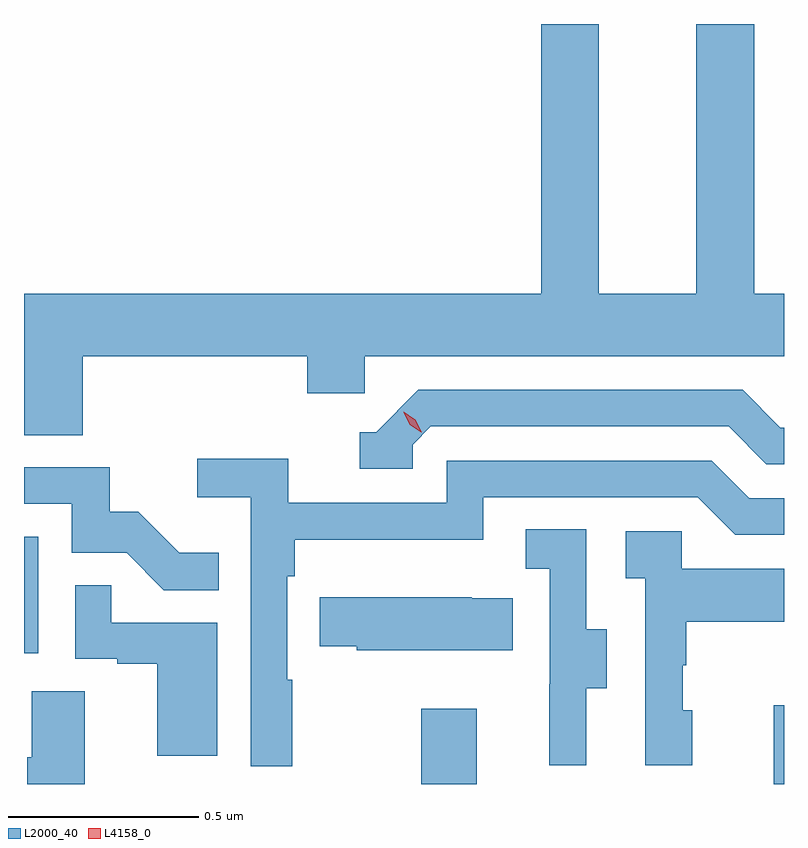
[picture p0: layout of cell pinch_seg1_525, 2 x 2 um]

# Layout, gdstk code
import gdstk
lib = gdstk.Library(unit=1e-6, precision=1e-09)
def R(c, l, rs):  # rectangles x0, y0, x1, y1
    for r in rs: c.add(gdstk.rectangle(r[:2], r[2:], *l))
def P(c, l, *ps):  # polygons
    for p in ps: c.add(gdstk.Polygon(p, *l))
L2000_40 = (2000, 40)
L4158_0 = (4158, 0)

pinch_seg1_525 = lib.new_cell('pinch_seg1_525')
R(pinch_seg1_525, L2000_40, [(1044.28,529.294,1044.427,529.492), (1045.208,529.294,1045.235,529.501), (1043.235,529.638,1043.272,529.945)])
P(pinch_seg1_525, L2000_40, [(1043.39,530.42),(1043.981,530.42),(1043.981,530.322),(1044.132,530.322),(1044.132,530.42),(1045.235,530.42),(1045.235,530.584),(1045.157,530.584),(1045.157,531.294),(1045.004,531.294),(1045.004,530.584),(1044.748,530.584),(1044.748,531.294),(1044.596,531.294),(1044.596,530.584),(1043.235,530.584),(1043.235,530.212),(1043.39,530.212)],
  [(1044.258,530.187),(1044.306,530.235),(1045.089,530.235),(1045.188,530.136),(1045.235,530.136),(1045.235,530.232),(1045.225,530.232),(1045.126,530.331),(1044.273,530.331),(1044.162,530.22),(1044.119,530.22),(1044.119,530.124),(1044.258,530.124)],
  [(1043.941,529.568),(1043.928,529.568),(1043.928,529.841),(1043.948,529.841),(1043.948,529.937),(1044.444,529.937),(1044.444,530.049),(1045.008,530.049),(1045.107,529.95),(1045.235,529.95),(1045.235,530.046),(1045.144,530.046),(1045.045,530.145),(1044.348,530.145),(1044.348,530.034),(1043.93,530.034),(1043.93,530.15),(1043.691,530.15),(1043.691,530.048),(1043.832,530.048),(1043.832,529.341),(1043.941,529.341)],
  [(1043.747,529.903),(1043.643,529.903),(1043.536,530.01),(1043.46,530.01),(1043.46,530.127),(1043.235,530.127),(1043.235,530.031),(1043.361,530.031),(1043.361,529.902),(1043.505,529.902),(1043.603,529.804),(1043.747,529.804)],
  [(1044.715,529.546),(1044.769,529.546),(1044.769,529.701),(1044.714,529.701),(1044.714,529.964),(1044.555,529.964),(1044.555,529.861),(1044.618,529.861),(1044.618,529.557),(1044.617,529.557),(1044.617,529.344),(1044.715,529.344)],
  [(1044.994,529.488),(1044.969,529.488),(1044.969,529.607),(1044.978,529.607),(1044.978,529.721),(1045.235,529.721),(1045.235,529.861),(1044.966,529.861),(1044.966,529.959),(1044.819,529.959),(1044.819,529.835),(1044.87,529.835),(1044.87,529.344),(1044.994,529.344)],
  [(1043.743,529.719),(1043.465,529.719),(1043.465,529.817),(1043.37,529.817),(1043.37,529.623),(1043.481,529.623),(1043.481,529.611),(1043.585,529.611),(1043.585,529.368),(1043.743,529.368)],
  [(1044.521,529.783),(1044.413,529.783),(1044.413,529.786),(1044.013,529.786),(1044.013,529.657),(1044.111,529.657),(1044.111,529.646),(1044.521,529.646)],
  [(1043.395,529.538),(1043.255,529.538),(1043.255,529.364),(1043.243,529.364),(1043.243,529.294),(1043.395,529.294)])
P(pinch_seg1_525, L4158_0, [(1044.281,530.22),(1044.25,530.24),(1044.234,530.272),(1044.234,530.273),(1044.234,530.273),(1044.265,530.253),(1044.282,530.22),(1044.282,530.22)])

lib.write_gds('pinch_seg1_525.gds')
